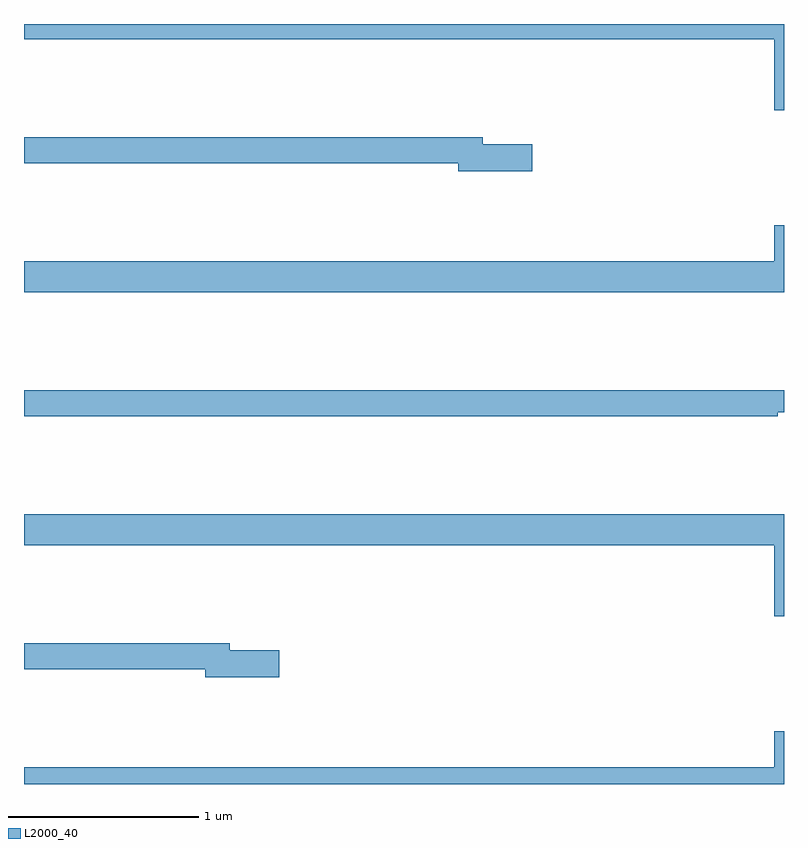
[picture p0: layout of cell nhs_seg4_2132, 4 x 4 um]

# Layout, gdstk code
import gdstk
lib = gdstk.Library(unit=1e-6, precision=1e-09)
def P(c, l, *ps):  # polygons
    for p in ps: c.add(gdstk.Polygon(p, *l))
L2000_40 = (2000, 40)

nhs_seg4_2132 = lib.new_cell('nhs_seg4_2132')
P(nhs_seg4_2132, L2000_40, [(225,796.9),(221,796.9),(221,796.82),(224.948,796.82),(224.948,796.446),(225,796.446)],
  [(223.675,796.268),(223.414,796.268),(223.414,796.304),(221,796.304),(221,796.168),(223.286,796.168),(223.286,796.126),(223.675,796.126)],
  [(225,795.841),(224.948,795.841),(224.948,795.652),(221,795.652),(221,795.488),(225,795.488)],
  [(224.966,794.856),(225,794.856),(225,794.972),(221,794.972),(221,794.836),(224.966,794.836)],
  [(225,794.32),(221,794.32),(221,794.156),(224.948,794.156),(224.948,793.782),(225,793.782)],
  [(222.343,793.604),(222.082,793.604),(222.082,793.64),(221,793.64),(221,793.504),(221.954,793.504),(221.954,793.462),(222.343,793.462)],
  [(225,793.177),(224.948,793.177),(224.948,792.988),(221,792.988),(221,792.9),(225,792.9)])

lib.write_gds('nhs_seg4_2132.gds')
